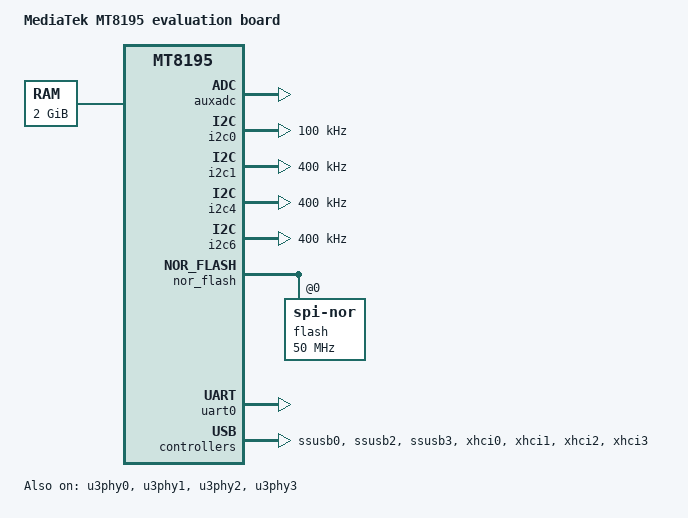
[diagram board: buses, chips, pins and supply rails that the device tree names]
// SPDX-License-Identifier: (GPL-2.0 OR MIT)
/*
 * Copyright (C) 2021 MediaTek Inc.
 * Author: Seiya Wang <seiya.wang@mediatek.com>
 */
/dts-v1/;
#include "mt8195.dtsi"

/ {
	model = "MediaTek MT8195 evaluation board";
	compatible = "mediatek,mt8195-evb", "mediatek,mt8195";

	aliases {
		serial0 = &uart0;
	};

	chosen {
		stdout-path = "serial0:921600n8";
	};

	memory@40000000 {
		device_type = "memory";
		reg = <0 0x40000000 0 0x80000000>;
	};
};

&auxadc {
	status = "okay";
};

&i2c0 {
	pinctrl-names = "default";
	pinctrl-0 = <&i2c0_pin>;
	clock-frequency = <100000>;
	status = "okay";
};

&i2c1 {
	pinctrl-names = "default";
	pinctrl-0 = <&i2c1_pin>;
	clock-frequency = <400000>;
	status = "okay";
};

&i2c4 {
	pinctrl-names = "default";
	pinctrl-0 = <&i2c4_pin>;
	clock-frequency = <400000>;
	status = "okay";
};

&i2c6 {
	pinctrl-names = "default";
	pinctrl-0 = <&i2c6_pin>;
	clock-frequency = <400000>;
	status = "okay";
};

&nor_flash {
	status = "okay";
	pinctrl-names = "default";
	pinctrl-0 = <&nor_pins_default>;

	flash@0 {
		compatible = "jedec,spi-nor";
		reg = <0>;
		spi-max-frequency = <50000000>;
	};
};

&pio {
	i2c0_pin: i2c0-pins {
		pins {
			pinmux = <PINMUX_GPIO8__FUNC_SDA0>,
				 <PINMUX_GPIO9__FUNC_SCL0>;
			bias-pull-up = <MTK_PUPD_SET_R1R0_01>;
			mediatek,drive-strength-adv = <0>;
			drive-strength = <6>;
		};
	};

	i2c1_pin: i2c1-pins {
		pins {
			pinmux = <PINMUX_GPIO10__FUNC_SDA1>,
				 <PINMUX_GPIO11__FUNC_SCL1>;
			bias-pull-up = <MTK_PUPD_SET_R1R0_01>;
			mediatek,drive-strength-adv = <0>;
			drive-strength = <6>;
		};
	};

	i2c4_pin: i2c4-pins {
		pins {
			pinmux = <PINMUX_GPIO16__FUNC_SDA4>,
				 <PINMUX_GPIO17__FUNC_SCL4>;
			bias-pull-up = <MTK_PUPD_SET_R1R0_01>;
			mediatek,drive-strength-adv = <7>;
		};
	};

	i2c6_pin: i2c6-pins {
		pins {
			pinmux = <PINMUX_GPIO25__FUNC_SDA6>,
				 <PINMUX_GPIO26__FUNC_SCL6>;
			bias-pull-up = <MTK_PUPD_SET_R1R0_01>;
		};
	};

	i2c7_pin: i2c7-pins {
		pins {
			pinmux = <PINMUX_GPIO27__FUNC_SCL7>,
				 <PINMUX_GPIO28__FUNC_SDA7>;
			bias-pull-up = <MTK_PUPD_SET_R1R0_01>;
		};
	};

	nor_pins_default: nor-pins {
		pins0 {
			pinmux = <PINMUX_GPIO142__FUNC_SPINOR_IO0>,
				 <PINMUX_GPIO141__FUNC_SPINOR_CK>,
				 <PINMUX_GPIO143__FUNC_SPINOR_IO1>;
			bias-pull-down;
		};

		pins1 {
			pinmux = <PINMUX_GPIO140__FUNC_SPINOR_CS>,
				 <PINMUX_GPIO130__FUNC_SPINOR_IO2>,
				 <PINMUX_GPIO131__FUNC_SPINOR_IO3>;
			bias-pull-up;
		};
	};

	uart0_pin: uart0-pins {
		pins {
			pinmux = <PINMUX_GPIO98__FUNC_UTXD0>,
				 <PINMUX_GPIO99__FUNC_URXD0>;
		};
	};
};

&u3phy0 {
	status = "okay";
};

&u3phy1 {
	status = "okay";
};

&u3phy2 {
	status = "okay";
};

&u3phy3 {
	status = "okay";
};

&uart0 {
	pinctrl-names = "default";
	pinctrl-0 = <&uart0_pin>;
	status = "okay";
};

&ssusb0 {
	status = "okay";
};

&ssusb2 {
	status = "okay";
};

&ssusb3 {
	status = "okay";
};

&xhci0 {
	status = "okay";
};

&xhci1 {
	status = "okay";
};

&xhci2 {
	status = "okay";
};

&xhci3 {
	/* This controller is connected with a BT device.
	 * Disable usb2 lpm to prevent known issues.
	 */
	usb2-lpm-disable;
	status = "okay";
};
